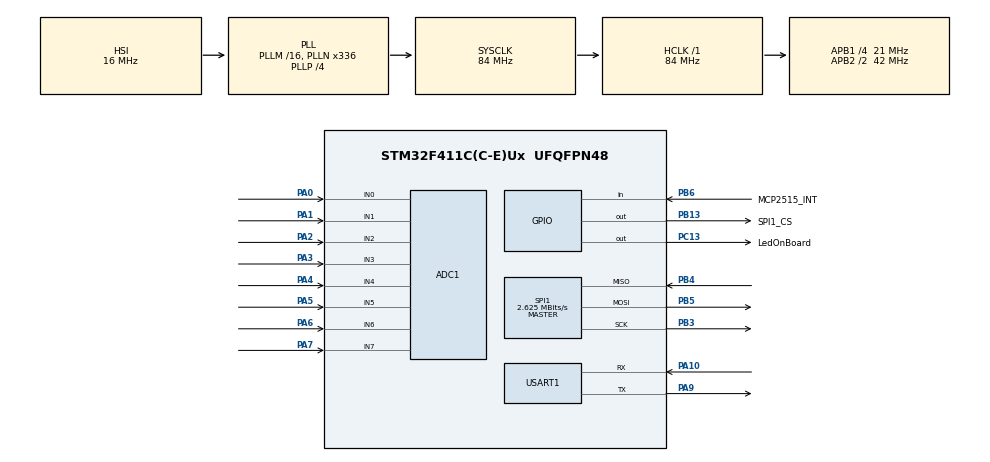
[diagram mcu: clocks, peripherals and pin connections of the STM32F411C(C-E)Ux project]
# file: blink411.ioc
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ADC1.Channel-0\#ChannelRegularConversion=ADC_CHANNEL_0
ADC1.ClockPrescaler=ADC_CLOCK_SYNC_PCLK_DIV4
ADC1.NbrOfConversion=1
ADC1.NbrOfConversionFlag=1
ADC1.Rank-0\#ChannelRegularConversion=1
ADC1.SamplingTime-0\#ChannelRegularConversion=ADC_SAMPLETIME_3CYCLES
ADC1.master=1
FREERTOS.Tasks01=TaskADC,8,512,StartTaskADC,Default,NULL,Dynamic,NULL,NULL;TaskSPI,40,512,StartTaskSPI,Default,NULL,Dynamic,NULL,NULL
FREERTOS.configUSE_NEWLIB_REENTRANT=1
Mcu.Family=STM32F4
Mcu.Name=STM32F411C(C-E)Ux
Mcu.Package=UFQFPN48
NVIC.PriorityGroup=NVIC_PRIORITYGROUP_4
NVIC.SPI1_IRQn=true\:5\:0\:false\:false\:true\:true\:true\:true\:true
NVIC.TIM1_UP_TIM10_IRQn=true\:15\:0\:false\:false\:true\:false\:false\:true\:true
NVIC.TimeBase=TIM1_UP_TIM10_IRQn
NVIC.TimeBaseIP=TIM1
PA0-WKUP.Signal=ADCx_IN0
PA1.Signal=ADCx_IN1
PA10.Mode=Asynchronous
PA10.Signal=USART1_RX
PA2.Signal=ADCx_IN2
PA3.Signal=ADCx_IN3
PA4.Signal=ADCx_IN4
PA5.Signal=ADCx_IN5
PA6.Signal=ADCx_IN6
PA7.Signal=ADCx_IN7
PA9.Mode=Asynchronous
PA9.Signal=USART1_TX
PB13.GPIO_Label=SPI1_CS
PB13.Signal=GPIO_Output
PB3.Mode=Full_Duplex_Master
PB3.Signal=SPI1_SCK
PB4.GPIO_PuPd=GPIO_PULLUP
PB4.Mode=Full_Duplex_Master
PB4.Signal=SPI1_MISO
PB5.Mode=Full_Duplex_Master
PB5.Signal=SPI1_MOSI
PB6.GPIO_Label=MCP2515_INT
PB6.GPIO_PuPd=GPIO_PULLUP
PB6.Signal=GPIO_Input
PC13-ANTI_TAMP.GPIO_Label=LedOnBoard
PC13-ANTI_TAMP.Signal=GPIO_Output
ProjectManager.HeapSize=0x200
ProjectManager.StackSize=0x400
ProjectManager.TargetToolchain=STM32CubeIDE
RCC.48MHZClocksFreq_Value=84000000
RCC.AHBFreq_Value=84000000
RCC.APB1CLKDivider=RCC_HCLK_DIV4
RCC.APB1Freq_Value=21000000
RCC.APB1TimFreq_Value=42000000
RCC.APB2CLKDivider=RCC_HCLK_DIV2
RCC.APB2Freq_Value=42000000
RCC.APB2TimFreq_Value=84000000
RCC.CortexFreq_Value=84000000
RCC.HCLKFreq_Value=84000000
RCC.HSE_VALUE=25000000
RCC.HSI_VALUE=16000000
RCC.LSE_VALUE=32768
RCC.PLLN=336
RCC.PLLP=RCC_PLLP_DIV4
RCC.SYSCLKFreq_VALUE=84000000
RCC.SYSCLKSource=RCC_SYSCLKSOURCE_PLLCLK
RCC.VCOOutputFreq_Value=336000000
SH.ADCx_IN0.0=ADC1_IN0,IN0
SH.ADCx_IN1.0=ADC1_IN1,IN1
SH.ADCx_IN2.0=ADC1_IN2,IN2
SH.ADCx_IN3.0=ADC1_IN3,IN3
SH.ADCx_IN4.0=ADC1_IN4,IN4
SH.ADCx_IN5.0=ADC1_IN5,IN5
SH.ADCx_IN6.0=ADC1_IN6,IN6
SH.ADCx_IN7.0=ADC1_IN7,IN7
SPI1.BaudRatePrescaler=SPI_BAUDRATEPRESCALER_16
SPI1.CalculateBaudRate=2.625 MBits/s
SPI1.Direction=SPI_DIRECTION_2LINES
SPI1.Mode=SPI_MODE_MASTER
SPI1.VirtualType=VM_MASTER
USART1.VirtualMode=VM_ASYNC
VP_FREERTOS_VS_CMSIS_V2.Mode=CMSIS_V2
VP_SYS_VS_tim1.Mode=TIM1
board=custom

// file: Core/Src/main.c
/* USER CODE BEGIN Header */
/**
  ******************************************************************************
  * @file           : main.c
  * @brief          : Main program body
  ******************************************************************************
  * @attention
  *
  * Copyright (c) 2024 STMicroelectronics.
  * All rights reserved.
  *
  * This software is licensed under terms that can be found in the LICENSE file
  * in the root directory of this software component.
  * If no LICENSE file comes with this software, it is provided AS-IS.
  *
  ******************************************************************************
  */
/* USER CODE END Header */
#include "main.h"
#include "cmsis_os.h"

/* USER CODE BEGIN Includes */
#include "mcp2515.h"
#include <string.h>
#include "semphr.h"
#include <math.h>
/* USER CODE END Includes */

ADC_HandleTypeDef hadc1;

SPI_HandleTypeDef hspi1;

UART_HandleTypeDef huart1;

/* Definitions for TaskADC */
osThreadId_t TaskADCHandle;
const osThreadAttr_t TaskADC_attributes = {
  .name = "TaskADC",
  .stack_size = 512 * 4,
  .priority = (osPriority_t) osPriorityNormal,
};
/* Definitions for TaskSPI */
osThreadId_t TaskSPIHandle;
const osThreadAttr_t TaskSPI_attributes = {
  .name = "TaskSPI",
  .stack_size = 512 * 4,
  .priority = (osPriority_t) osPriorityNormal,
};
/* USER CODE BEGIN PV */
MCP2515_HandleTypeDef mcp2515_1;
//canMessage canMessagesBuffer[BUFFER_TX_LENGHT];
//volatile uint8_t mcp2515Int;
//uint8_t canMsgToSend = 0;
MCP2515_canMessage canMessageTx[BUFFER_TX_SPI];
static uint8_t result_mcp2515Init = 1;
SemaphoreHandle_t xMutex;
volatile bool adcInUse = false;
volatile bool spiInUse = false;
static uint32_t msg14 = 0;

/* USER CODE END PV */

void SystemClock_Config(void);
static void MX_GPIO_Init(void);
static void MX_SPI1_Init(void);
static void MX_USART1_UART_Init(void);
static void MX_ADC1_Init(void);
void StartTaskADC(void *argument);
void StartTaskSPI(void *argument);

int main(void)
{

  /* USER CODE BEGIN 1 */
	//mcp2515Int = false;
  /* USER CODE END 1 */

  /* MCU Configuration--------------------------------------------------------*/

  /* Reset of all peripherals, Initializes the Flash interface and the Systick. */
  HAL_Init();

  /* Configure the system clock */
  SystemClock_Config();

  /* Initialize all configured peripherals */
  MX_GPIO_Init();
  MX_SPI1_Init();
  MX_USART1_UART_Init();
  MX_ADC1_Init();

  /* Init scheduler */
  osKernelInitialize();

  /* USER CODE BEGIN RTOS_SEMAPHORES */
  //xSemaphore = xSemaphoreCreateBinary();
  //xSemaphoreGive(xSemaphore);
  xMutex = xSemaphoreCreateMutex();
  /* add semaphores, ... */
  /* USER CODE END RTOS_SEMAPHORES */

  /* Create the thread(s) */
  /* creation of TaskADC */
  TaskADCHandle = osThreadNew(StartTaskADC, NULL, &TaskADC_attributes);

  /* creation of TaskSPI */
  TaskSPIHandle = osThreadNew(StartTaskSPI, NULL, &TaskSPI_attributes);

  /* Start scheduler */
  osKernelStart();

  /* We should never get here as control is now taken by the scheduler */

  /* Infinite loop */
  /* USER CODE BEGIN WHILE */
  while (1)
  {
    /* Accende il LED */
    //HAL_GPIO_WritePin(GPIOC, GPIO_PIN_13, GPIO_PIN_RESET);  // A seconda del LED potrebbe essere GPIO_PIN_SET
    //HAL_Delay(500); // Aspetta 500ms

    /* Spegne il LED */
    //HAL_GPIO_WritePin(GPIOC, GPIO_PIN_13, GPIO_PIN_SET);  // A seconda del LED potrebbe essere GPIO_PIN_RESET
    //HAL_Delay(500); // Aspetta 500ms

     /* Invia il messaggio tramite USART1 */
    //HAL_UART_Transmit(&huart1, (uint8_t*)message, strlen(message), HAL_MAX_DELAY);
    /*uint8_t data = 0xAA;
    HAL_GPIO_WritePin(GPIOB, GPIO_PIN_13, GPIO_PIN_RESET);  // CS basso
	  HAL_SPI_Transmit(&hspi1, &data, 1, HAL_MAX_DELAY);
	  HAL_GPIO_WritePin(GPIOB, GPIO_PIN_13, GPIO_PIN_SET);  // CS alto
	  HAL_Delay(2000);*/

    /* USER CODE END WHILE */

  }
}

void SystemClock_Config(void)
{
  RCC_OscInitTypeDef RCC_OscInitStruct = {0};
  RCC_ClkInitTypeDef RCC_ClkInitStruct = {0};

  /** Configure the main internal regulator output voltage
  */
  __HAL_RCC_PWR_CLK_ENABLE();
  __HAL_PWR_VOLTAGESCALING_CONFIG(PWR_REGULATOR_VOLTAGE_SCALE1);

  /** Initializes the RCC Oscillators according to the specified parameters
  * in the RCC_OscInitTypeDef structure.
  */
  RCC_OscInitStruct.OscillatorType = RCC_OSCILLATORTYPE_HSI;
  RCC_OscInitStruct.HSIState = RCC_HSI_ON;
  RCC_OscInitStruct.HSICalibrationValue = RCC_HSICALIBRATION_DEFAULT;
  RCC_OscInitStruct.PLL.PLLState = RCC_PLL_ON;
  RCC_OscInitStruct.PLL.PLLSource = RCC_PLLSOURCE_HSI;
  RCC_OscInitStruct.PLL.PLLM = 16;
  RCC_OscInitStruct.PLL.PLLN = 336;
  RCC_OscInitStruct.PLL.PLLP = RCC_PLLP_DIV4;
  RCC_OscInitStruct.PLL.PLLQ = 4;
  if (HAL_RCC_OscConfig(&RCC_OscInitStruct) != HAL_OK)
  {
    Error_Handler();
  }

  /** Initializes the CPU, AHB and APB buses clocks
  */
  RCC_ClkInitStruct.ClockType = RCC_CLOCKTYPE_HCLK|RCC_CLOCKTYPE_SYSCLK
                              |RCC_CLOCKTYPE_PCLK1|RCC_CLOCKTYPE_PCLK2;
  RCC_ClkInitStruct.SYSCLKSource = RCC_SYSCLKSOURCE_PLLCLK;
  RCC_ClkInitStruct.AHBCLKDivider = RCC_SYSCLK_DIV1;
  RCC_ClkInitStruct.APB1CLKDivider = RCC_HCLK_DIV4;
  RCC_ClkInitStruct.APB2CLKDivider = RCC_HCLK_DIV2;

  if (HAL_RCC_ClockConfig(&RCC_ClkInitStruct, FLASH_LATENCY_2) != HAL_OK)
  {
    Error_Handler();
  }
}

static void MX_ADC1_Init(void)
{

  ADC_ChannelConfTypeDef sConfig = {0};

  /** Configure the global features of the ADC (Clock, Resolution, Data Alignment and number of conversion)
  */
  hadc1.Instance = ADC1;
  hadc1.Init.ClockPrescaler = ADC_CLOCK_SYNC_PCLK_DIV4;
  hadc1.Init.Resolution = ADC_RESOLUTION_12B;
  hadc1.Init.ScanConvMode = DISABLE;
  hadc1.Init.ContinuousConvMode = DISABLE;
  hadc1.Init.DiscontinuousConvMode = DISABLE;
  hadc1.Init.ExternalTrigConvEdge = ADC_EXTERNALTRIGCONVEDGE_NONE;
  hadc1.Init.ExternalTrigConv = ADC_SOFTWARE_START;
  hadc1.Init.DataAlign = ADC_DATAALIGN_RIGHT;
  hadc1.Init.NbrOfConversion = 1;
  hadc1.Init.DMAContinuousRequests = DISABLE;
  hadc1.Init.EOCSelection = ADC_EOC_SINGLE_CONV;
  if (HAL_ADC_Init(&hadc1) != HAL_OK)
  {
    Error_Handler();
  }

  /** Configure for the selected ADC regular channel its corresponding rank in the sequencer and its sample time.
  */
  sConfig.Channel = ADC_CHANNEL_0;
  sConfig.Rank = 1;
  sConfig.SamplingTime = ADC_SAMPLETIME_3CYCLES;
  if (HAL_ADC_ConfigChannel(&hadc1, &sConfig) != HAL_OK)
  {
    Error_Handler();
  }

}

static void MX_SPI1_Init(void)
{

  /* SPI1 parameter configuration*/
  hspi1.Instance = SPI1;
  hspi1.Init.Mode = SPI_MODE_MASTER;
  hspi1.Init.Direction = SPI_DIRECTION_2LINES;
  hspi1.Init.DataSize = SPI_DATASIZE_8BIT;

  hspi1.Init.CLKPolarity = SPI_POLARITY_LOW;
  hspi1.Init.CLKPhase = SPI_PHASE_1EDGE;
  hspi1.Init.NSS = SPI_NSS_SOFT;
  hspi1.Init.BaudRatePrescaler = SPI_BAUDRATEPRESCALER_4;
  hspi1.Init.FirstBit = SPI_FIRSTBIT_MSB;
  hspi1.Init.TIMode = SPI_TIMODE_DISABLE;
  hspi1.Init.CRCCalculation = SPI_CRCCALCULATION_DISABLE;
  hspi1.Init.CRCPolynomial = 10;
  if (HAL_SPI_Init(&hspi1) != HAL_OK)
  {
    Error_Handler();
  }

}

static void MX_USART1_UART_Init(void)
{

  huart1.Instance = USART1;
  huart1.Init.BaudRate = 115200;
  huart1.Init.WordLength = UART_WORDLENGTH_8B;
  huart1.Init.StopBits = UART_STOPBITS_1;
  huart1.Init.Parity = UART_PARITY_NONE;
  huart1.Init.Mode = UART_MODE_TX_RX;
  huart1.Init.HwFlowCtl = UART_HWCONTROL_NONE;
  huart1.Init.OverSampling = UART_OVERSAMPLING_16;
  if (HAL_UART_Init(&huart1) != HAL_OK)
  {
    Error_Handler();
  }

}

/*
static void MX_DMA_Init(void)
{

  /* DMA controller clock enable */
//__HAL_RCC_DMA2_CLK_ENABLE();

  /* DMA interrupt init */
  /* DMA2_Stream0_IRQn interrupt configuration */
  //HAL_NVIC_SetPriority(DMA2_Stream0_IRQn, 5, 0);
  //HAL_NVIC_EnableIRQ(DMA2_Stream0_IRQn);
  /* DMA2_Stream2_IRQn interrupt configuration */
  //HAL_NVIC_SetPriority(DMA2_Stream2_IRQn, 5, 0);
  //HAL_NVIC_EnableIRQ(DMA2_Stream2_IRQn);

//}

static void MX_GPIO_Init(void)
{
  GPIO_InitTypeDef GPIO_InitStruct = {0};

  /* GPIO Ports Clock Enable */
  __HAL_RCC_GPIOC_CLK_ENABLE();
  __HAL_RCC_GPIOA_CLK_ENABLE();
  __HAL_RCC_GPIOB_CLK_ENABLE();

  /*Configure GPIO pin Output Level */
  HAL_GPIO_WritePin(LedOnBoard_GPIO_Port, LedOnBoard_Pin, GPIO_PIN_RESET);

  /*Configure GPIO pin Output Level */
  HAL_GPIO_WritePin(SPI1_CS_GPIO_Port, SPI1_CS_Pin, GPIO_PIN_RESET);

  /*Configure GPIO pin : LedOnBoard_Pin */
  GPIO_InitStruct.Pin = LedOnBoard_Pin;
  GPIO_InitStruct.Mode = GPIO_MODE_OUTPUT_PP;
  GPIO_InitStruct.Pull = GPIO_NOPULL;
  GPIO_InitStruct.Speed = GPIO_SPEED_FREQ_LOW;
  HAL_GPIO_Init(LedOnBoard_GPIO_Port, &GPIO_InitStruct);

  /*Configure GPIO pin : SPI1_CS_Pin */
  GPIO_InitStruct.Pin = SPI1_CS_Pin;
  GPIO_InitStruct.Mode = GPIO_MODE_OUTPUT_PP;
  GPIO_InitStruct.Pull = GPIO_NOPULL;
  GPIO_InitStruct.Speed = GPIO_SPEED_FREQ_LOW;
  HAL_GPIO_Init(SPI1_CS_GPIO_Port, &GPIO_InitStruct);

  /*Configure GPIO pin : MCP2515_INT_Pin */
  GPIO_InitStruct.Pin = MCP2515_INT_Pin;
  GPIO_InitStruct.Mode = GPIO_MODE_INPUT;
  GPIO_InitStruct.Pull = GPIO_PULLUP;
  HAL_GPIO_Init(MCP2515_INT_GPIO_Port, &GPIO_InitStruct);

}

/* USER CODE BEGIN 4 */
void HAL_SPI_TxCpltCallback(SPI_HandleTypeDef *hspi) {
    // Verifica che questo callback sia per il tuo hspi
    if (hspi == &hspi1) {
        //MCP2515_SetTransmissionComplete(&mcp2515_1, 1);
    	mcp2515_1.transmissionComplete = true;
        //BaseType_t xHigherPriorityTaskWoken = pdFALSE;
        //vTaskNotifyGiveFromISR(xTaskHandleSPI, &xHigherPriorityTaskWoken);
        //portYIELD_FROM_ISR(xHigherPriorityTaskWoken);
    }
}

void HAL_SPI_RxCpltCallback(SPI_HandleTypeDef *hspi) {
    if (hspi == &hspi1) {
    	//MCP2515_SetTransmissionComplete(&mcp2515_1, 1);
    	mcp2515_1.transmissionComplete = true;
    }
}

void HAL_SPI_TxRxCpltCallback(SPI_HandleTypeDef *hspi) {
    if (hspi == &hspi1) {
    	//MCP2515_SetTransmissionComplete(&mcp2515_1, 1);
    	mcp2515_1.transmissionComplete = true;
    }
}

/*void HAL_GPIO_EXTI_Callback(uint16_t GPIO_Pin)
{
    if (GPIO_Pin == GPIO_PIN_6)
    {
        // Codice per gestire l'interrupt del MCP2515
        mcp2515Int++;
        //printf("Interrupt\n");
       /* char message [20];
       sprintf(message, "Interrupt\r\n");
        HAL_UART_Transmit(&huart1, (uint8_t*)message, strlen(message), HAL_MAX_DELAY);*/
    //}
//}

int __io_putchar(int ch) {
    // Invia il carattere tramite USART (ad esempio huart1)
    HAL_UART_Transmit(&huart1, (uint8_t*)&ch, 1, HAL_MAX_DELAY);
    return ch;
  }

  int _write(int file, char *ptr, int len) {
      for (int i = 0; i < len; i++) {
          __io_putchar(*ptr++);
      }
      return len;
  }
void printByteArray(uint8_t *array, int size) {
    printf("Array content: ");
    for (int i = 0; i < size; i++) {
        printf("0x%02X ", array[i]);  // Stampa ciascun byte in formato esadecimale
    }
    printf("\n");  // Aggiunge una nuova linea alla fine

    /* uso
    int arraySize = sizeof(writeMessage) / sizeof(writeMessage[0]);
    printByteArray(writeMessage, arraySize);*/
}
void canMsgTx(canMessage* messageToSend, MCP2515_canMessage* messageBuffer){

	uint8_t msgId_bf[4];

	if (messageToSend->extended){
		  msgId_bf[0] = (messageToSend->msgID >> 3) & 0xFF;  // Estrai il byte alto (MSB)
		  msgId_bf[1] = (messageToSend->msgID << 5) & 0xE0;         // Estrai il byte basso (LSB)
		  msgId_bf[1] = msgId_bf[1] | 8;
		  msgId_bf[1] = msgId_bf[1] | ((messageToSend->msgID >> 28) & 0x02);
		  msgId_bf[2] = (messageToSend->msgID >> 19) & 0xFF;
		  msgId_bf[3] = (messageToSend->msgID >> 11) & 0xFF;

	  } else{

		msgId_bf[0] = (messageToSend->msgID >> 3) & 0xFF;  // Estrai il byte alto (MSB)
		msgId_bf[1] = (messageToSend->msgID << 5) & 0xE0;         // Estrai il byte basso (LSB)
		msgId_bf[2] = 0x00;
		msgId_bf[3] = 0x00;
	  }

	  memcpy(messageBuffer->msgID, msgId_bf, sizeof(msgId_bf));
	  memcpy(messageBuffer->msgData, messageToSend->msgData, messageToSend->dlc);
	  messageBuffer->dlc = messageToSend->dlc;
	  messageBuffer->newMsg = true;

	  if ((messageBuffer->msgID[0] != 2) ||
			 ( messageBuffer->msgID[1] != 0 &&
			  messageBuffer->msgID[1] != 96 &&
			  messageBuffer->msgID[1] != 64 &&
			  messageBuffer->msgID[1] != 32)){
		  msg14 += 1;
	  }

}

void Read_ADC_Polling(ADC_HandleTypeDef* hadc, ADC_ChannelConfTypeDef* sConfig, uint32_t* value) {

        HAL_ADC_ConfigChannel(hadc, sConfig);

        // Avvia la conversione
        HAL_ADC_Start(hadc);

        // Aspetta che la conversione sia completata
        if (HAL_ADC_PollForConversion(hadc, 10) == HAL_OK) {
            // Leggi il valore convertito
        	*value = HAL_ADC_GetValue(hadc);

        }

        // Ferma la conversione (opzionale, ma per sicurezza)
        HAL_ADC_Stop(hadc);

}

float scaleValue(float input, float min_input, float max_input, float min_output, float max_output) {
    // Mappatura lineare del valore di input all'intervallo di output
    float output = ((input - min_input) / (max_input - min_input)) * (max_output - min_output) + min_output;
    return output;
}

/* USER CODE END 4 */

void StartTaskADC(void *argument)
{
  /* USER CODE BEGIN 5 */
	TickType_t xLastWakeTime = xTaskGetTickCount();
	const TickType_t xFrequency = 5;//pdMS_TO_TICKS(5);;

	float min_input = 0.0;     // Minimo valore di tensione (0V)
	float max_input = 4096;     // Massimo valore di tensione (5V)
	float min_output = 0.0;    // Minimo valore di dbar (0 dbar)
	float max_output = 100.0;  // Massimo valore di dbar (100 dbar)

	uint32_t adcValues[8] = {0};
	uint32_t ui_pressureValue_dbar[8] = {0};
	ADC_ChannelConfTypeDef sConfig = {0};
	canMessage canMessage[4] = {0};
	static uint8_t indexTx = 0;
	//uint32_t start_time, timeADC;
	// Inizializza start_time
	// start_time = HAL_GetTick();

	uint16_t value_to_send = 0;

  /* Infinite loop */
  for(;;)
  {

	  //if (xSemaphoreTake(xMutex, portMAX_DELAY) == pdTRUE) {

	  //start_time = HAL_GetTick();  // Usa SysTick per ottenere il tempo attuale

	  if (result_mcp2515Init == MCP2515_OK&&
			spiInUse == false){
			 //(xSemaphoreTake(xSemaphore, portMAX_DELAY) == pdTRUE)) {
		  adcInUse = true;
		  // Esegui la lettura dei canali ADC
		  for (int i = 0; i < 8; i++) {
		          // Seleziona il canale da leggere
		          sConfig.Channel = ADC_CHANNEL_0 + i;
		          sConfig.Rank = 1;
		          sConfig.SamplingTime = ADC_SAMPLETIME_28CYCLES;
		          Read_ADC_Polling(&hadc1, &sConfig, &adcValues[i]);

		  }

		  for (int i = 0; i < 8; i++) {
			  float input = (float)adcValues[i];
			  float outputDbar = scaleValue(input, min_input, max_input, min_output, max_output);

			  if (outputDbar < 0) {
				  ui_pressureValue_dbar[i] = 0;  // Saturazione a 0 se il valore è negativo
			  } else if (outputDbar > 65535) {
				  ui_pressureValue_dbar[i] = 65535;  // Saturazione al massimo valore se eccede 65535
			  } else {
				  ui_pressureValue_dbar[i] = (uint32_t)roundf(outputDbar);  // Conversione diretta se è nei limiti
			  }

		  }

		  /********/

		  //0x010
		  canMessage[0].msgID = 0x010;
		  canMessage[0].extended = false;
		  canMessage[0].dlc = 8;

		  for (int m = 0; m < 8; m++){
			  canMessage[0].msgData[m] = 0x0;
		  }

		  //adcValues[0] = 0x00110011;
		  value_to_send = (uint16_t)adcValues[0];
		  canMessage[0].msgData[0] = value_to_send;
		  canMessage[0].msgData[1] = value_to_send >> 8;

		  //adcValues[1] = 0x22332233;
		  value_to_send = (uint16_t)adcValues[1];
		  canMessage[0].msgData[2] = value_to_send;
		  canMessage[0].msgData[3] = value_to_send >> 8;

		  //adcValues[2] = 0x44554455;
		  value_to_send = (uint16_t)adcValues[2];
		  canMessage[0].msgData[4] = value_to_send;
		  canMessage[0].msgData[5] = value_to_send >> 8;

		  //adcValues[3] = 0x66776677;
		  value_to_send = (uint16_t)adcValues[3];
		  canMessage[0].msgData[6] = value_to_send;
		  canMessage[0].msgData[7] = value_to_send >> 8;
		  /*canMessage[0].msgData[0] = 10;
		  		  canMessage[0].msgData[1] = 20;
		  		  canMessage[0].msgData[2] = 30;
		  		  canMessage[0].msgData[3] = 40;
		  		  canMessage[0].msgData[4] = 50;
		  		  canMessage[0].msgData[5] = 60;
		  		  canMessage[0].msgData[6] = 70;
		  		  canMessage[0].msgData[7] = 80;*/

		  canMsgTx(&canMessage[0], &canMessageTx[indexTx]);

		  indexTx++;
		  if (indexTx >= BUFFER_TX_SPI) {
			  indexTx = 0;
		  }

  		 /********/

		  //0x011
		  canMessage[1].msgID = 0x011;
		  canMessage[1].extended = false;
		  canMessage[1].dlc = 8;

		  for (int m = 0; m < 8; m++){
			  canMessage[1].msgData[m] = 0x0;
		  }

		  //adcValues[4] = 0x88998899;
		  value_to_send = (uint16_t)adcValues[4];
		  canMessage[1].msgData[0] = value_to_send;
		  canMessage[1].msgData[1] = value_to_send >> 8;

		  //adcValues[5] = 0xaabbaabb;
		  value_to_send = (uint16_t)adcValues[5];
		  canMessage[1].msgData[2] = value_to_send;
		  canMessage[1].msgData[3] = value_to_send >> 8;

		  //adcValues[6] = 0xccddccdd;
		  value_to_send = (uint16_t)adcValues[6];
		  canMessage[1].msgData[4] = value_to_send;
		  canMessage[1].msgData[5] = value_to_send >> 8;

		  //adcValues[7] = 0xeeffeeff;
		  value_to_send = (uint16_t)adcValues[7];
		  canMessage[1].msgData[6] = value_to_send;
		  canMessage[1].msgData[7] = value_to_send >> 8;
		  /*canMessage[1].msgData[0] = 10;
		  		  		  canMessage[1].msgData[1] = 20;
		  		  		  canMessage[1].msgData[2] = 30;
		  		  		  canMessage[1].msgData[3] = 40;
		  		  		  canMessage[1].msgData[4] = 50;
		  		  		  canMessage[1].msgData[5] = 60;
		  		  		  canMessage[1].msgData[6] = 70;
		  		  		  canMessage[1].msgData[7] = 80;*/

		  canMsgTx(&canMessage[1], &canMessageTx[indexTx]);

		  indexTx++;
		  if (indexTx >= BUFFER_TX_SPI) {
			  indexTx = 0;
		  }

		 /********/
		  //0x012
		  canMessage[2].msgID = 0x012;
		  canMessage[2].extended = false;
		  canMessage[2].dlc = 8;

		  for (int m = 0; m < 8; m++){
			  canMessage[2].msgData[m] = 0x0;
		  }

		  //ui_pressureValue_dbar[0] = 0x00110011;
		  value_to_send = (uint16_t)ui_pressureValue_dbar[0];
		  canMessage[2].msgData[0] = value_to_send;
		  canMessage[2].msgData[1] = value_to_send >> 8;

		  //ui_pressureValue_dbar[1] = 0x22332233;
		  value_to_send = (uint16_t)ui_pressureValue_dbar[1];
		  canMessage[2].msgData[2] = value_to_send;
		  canMessage[2].msgData[3] = value_to_send >> 8;

		  //ui_pressureValue_dbar[2] = 0x44554455;
		  value_to_send = (uint16_t)ui_pressureValue_dbar[2];
		  canMessage[2].msgData[4] = value_to_send;
		  canMessage[2].msgData[5] = value_to_send >> 8;

		  //ui_pressureValue_dbar[3] = 0x66776677;
		  value_to_send = (uint16_t)ui_pressureValue_dbar[3];
		  canMessage[2].msgData[6] = value_to_send;
		  canMessage[2].msgData[7] = value_to_send >> 8;

		  /*canMessage[2].msgData[0] = 10;
		  		  		  canMessage[2].msgData[1] = 20;
		  		  		  canMessage[2].msgData[2] = 30;
		  		  		  canMessage[2].msgData[3] = 40;
		  		  		  canMessage[2].msgData[4] = 50;
		  		  		  canMessage[2].msgData[5] = 60;
		  		  		  canMessage[2].msgData[6] = 70;
		  		  		  canMessage[2].msgData[7] = 80;*/
  		  canMsgTx(&canMessage[2], &canMessageTx[indexTx]);

		  indexTx++;
		  if (indexTx >= BUFFER_TX_SPI) {
			  indexTx = 0;
		  }
		  /***********/
		  //0x013
		  canMessage[3].msgID = 0x013;
		  canMessage[3].extended = false;
		  canMessage[3].dlc = 8;

		  for (int m = 0; m < 8; m++){
			  canMessage[3].msgData[m] = 0x0;
		  }

		  //ui_pressureValue_dbar[4] = 0x88998899;
		  value_to_send = (uint16_t)ui_pressureValue_dbar[4];
		  canMessage[3].msgData[0] = value_to_send;
		  canMessage[3].msgData[1] = value_to_send >> 8;

		  //ui_pressureValue_dbar[5] = 0xaabbaabb;
		  value_to_send = (uint16_t)ui_pressureValue_dbar[5];
		  canMessage[3].msgData[2] = value_to_send;
		  canMessage[3].msgData[3] = value_to_send >> 8;

		  //ui_pressureValue_dbar[6] = 0xccddccdd;
		  value_to_send = (uint16_t)ui_pressureValue_dbar[6];
		  canMessage[3].msgData[4] = value_to_send;
		  canMessage[3].msgData[5] = value_to_send >> 8;

		  //ui_pressureValue_dbar[7] = 0xeeffeeff;
		  value_to_send = (uint16_t)ui_pressureValue_dbar[7];
		  canMessage[3].msgData[6] = value_to_send;
		  canMessage[3].msgData[7] = value_to_send >> 8;
		  /*canMessage[3].msgData[0] = 10;
						  canMessage[3].msgData[1] = 20;
						  canMessage[3].msgData[2] = 30;
						  canMessage[3].msgData[3] = 40;
						  canMessage[3].msgData[4] = 50;
						  canMessage[3].msgData[5] = 60;
						  canMessage[3].msgData[6] = 70;
						  canMessage[3].msgData[7] = 80;*/
			  canMsgTx(&canMessage[3], &canMessageTx[indexTx]);

		  indexTx++;
		  if (indexTx >= BUFFER_TX_SPI) {
			  indexTx = 0;
		  }

		 /* char message [20];
		  // Converte l'intero in una stringa
		  sprintf(message, "index: %d\r\n", indexTx);
		  HAL_UART_Transmit(&huart1, (uint8_t*)message, strlen(message), HAL_MAX_DELAY);*/
		  adcInUse = false;
		  //xSemaphoreGive(xMutex);

		  // Rilascia il semaforo quando l'operazione è completata
		  //xSemaphoreGive(xSemaphore);

		 /* char message [10];
			  // Converte l'intero in una stringa
			  sprintf(message, "ADC: %d\r\n", canMessagesBuffer[index].msgData[0]);
			  HAL_UART_Transmit(&huart1, (uint8_t*)message, strlen(message), HAL_MAX_DELAY);
	*/
	  //}
	  vTaskDelayUntil(&xLastWakeTime, xFrequency);
	  }
	 // HAL_GPIO_TogglePin(LedOnBoard_GPIO_Port, LedOnBoard_Pin);

	  /*timeADC = HAL_GetTick() - start_time;
	  char message [20];
	  // Converte l'intero in una stringa
	  sprintf(message, "time adc: %d ms\r\n", timeADC);
	  HAL_UART_Transmit(&huart1, (uint8_t*)message, strlen(message), HAL_MAX_DELAY);*/
  }
  /* USER CODE END 5 */
}

void StartTaskSPI(void *argument)
{
  /* USER CODE BEGIN StartTaskSPI */

	MCP2515_MessageBuffer canMsg_buffer;

	// Inizializzazione del dispositivo MCP2515
	  //HAL_Delay(500);
	  initBuffer(&canMsg_buffer);

	  uint8_t dummyData = 0x00;
	  HAL_SPI_Transmit(&hspi1, &dummyData, 1, HAL_MAX_DELAY); // Trasmissione dummy
	  HAL_GPIO_WritePin(GPIOB, GPIO_PIN_13, GPIO_PIN_SET);  // CS alto

	  const char* resMcp2515_msg;
	  result_mcp2515Init = MCP2515_Init(&mcp2515_1, GPIOB, GPIO_PIN_13, &hspi1, CAN0_BAUDRATE, true);
	  switch ( result_mcp2515Init){

	    case MCP2515_OK:
	      resMcp2515_msg = "Inizializzazione mcp2515 ok\n";
	      break;

	    case MCP2515_FAIL:
	      resMcp2515_msg = "Inizializzazione mcp2515 fallita\n";
	      break;

	    case MCP2515_RESET_FAIL:
	      resMcp2515_msg = "Reset mcp2515 fallito\n";
	      break;

	    case MCP2515_SET_BAUDRATE_FAIL:
	      resMcp2515_msg = "Set baudrate mcp2515 fallito\n";
	      break;

	    case MCP2515_SET_MODE_FAIL:
	      resMcp2515_msg = "Set modalita operativa mcp2515 fallita\n";
	      break;

	    case MCP2515_RESET_TIMEOUT:
	      resMcp2515_msg = "MCP2515_RESET_TIMEOUT\n";
	      break;

	    case MCP2515_READ_TIMEOUT_1:
	      resMcp2515_msg = "MCP2515_READ_TIMEOUT_1\n";
	      break;

	    case MCP2515_READ_TIMEOUT_2:
	      resMcp2515_msg = "MCP2515_READ_TIMEOUT_2\n";
	      break;

	    case MCP2515_BAUDRATE_READ_FAIL:
	      resMcp2515_msg = "MCP2515_BAUDRATE_READ_FAIL\n";
	      break;

	    case MCP2515_BAUDRATE_NOT_OK:
	      resMcp2515_msg = "MCP2515_BAUDRATE_NOT_OK\n";
	      break;

	    default:
	      resMcp2515_msg = "Errore non riconosciuto mcp2515\n";
	      break;
	  }

	  HAL_UART_Transmit(&huart1, (uint8_t*)resMcp2515_msg, strlen(resMcp2515_msg), HAL_MAX_DELAY);

	  uint8_t resultHandler = 0;
	  uint8_t resultSend = 0;

	 // uint8_t result = 10;
	 /* static uint8_t index = 0;
	  static uint8_t dataToSend1[8] = {0x56, 0x26, 0x88, 0x12, 0x67, 0x99, 0xAA, 0x88};
	static uint8_t dataToSend2[8] = {0x00, 0x01, 0x02, 0x03, 0x04, 0x05, 0x06, 0x07};
	static uint8_t dataToSend3[8] = {0x10, 0x11, 0x12, 0x13, 0x14, 0x15, 0x16, 0x17};
	static uint8_t dataToSend4[8] = {0x3F, 0xA2, 0xB7, 0x19, 0xE4, 0x56, 0x8C, 0x22};
	static uint8_t dataToSend5[8] = {0x7E, 0xD4, 0x11, 0x89, 0xB5, 0x23, 0x6A, 0xFC};
	static uint8_t dataToSend6[8] = {0x4B, 0xC3, 0x9F, 0x02, 0x71, 0xD8, 0xA6, 0x5D};
	static uint8_t dataToSend7[8] = {0x99, 0x28, 0x73, 0xC4, 0xF6, 0x13, 0xB1, 0x2E};
	static uint8_t dataToSend8[8] = {0xEF, 0x5A, 0x64, 0x92, 0x3B, 0x87, 0xD3, 0x41};
	static uint8_t dataToSend9[8] = {0xAA, 0x38, 0x5C, 0x72, 0x49, 0xF1, 0xBE, 0x6D};
	static uint8_t dataToSend10[8] = {0x7E, 0xD4, 0x11, 0x89, 0xB5, 0x23, 0x6A, 0xFC};
		static uint8_t dataToSend11[8] = {0x4B, 0xC3, 0x9F, 0x02, 0x71, 0xD8, 0xA6, 0x5D};
		static uint8_t dataToSend12[8] = {0x99, 0x28, 0x73, 0xC4, 0xF6, 0x13, 0xB1, 0x2E};
		static uint8_t dataToSend13[8] = {0xEF, 0x5A, 0x64, 0x92, 0x3B, 0x87, 0xD3, 0x41};
		static uint8_t dataToSend14[8] = {0xAA, 0x38, 0x5C, 0x72, 0x49, 0xF1, 0xBE, 0x6D};
	uint32_t msgId1 = 0x200;
	uint32_t msgId2 = 0x210;
	uint32_t msgId3 = 0x220;
	uint32_t msgId4 = 0x230;
	uint32_t msgId5 = 0x240;
	uint32_t msgId6 = 0x250;
	uint32_t msgId7 = 0x260;
	uint32_t msgId8 = 0x270;
	uint32_t msgId9 = 0x280;
	uint32_t msgId10 = 0x281;
		uint32_t msgId11 = 0x282;
		uint32_t msgId12 = 0x283;
		uint32_t msgId13 = 0x284;
		uint32_t msgId14 = 0x285;*/

	  	//uint32_t start_time, timeADC;
	  	uint32_t start_time2, time2;
	  			// Inizializza start_time
	  			 //start_time = HAL_GetTick();
	  			start_time2 = HAL_GetTick();
	  			char message [50];

	GPIO_PinState  mcp2515IntState;
	//static BaseType_t taskADCIsSuspended = pdFALSE;
  /* Infinite loop */
  for(;;)
  {

	  //if (xSemaphoreTake(xMutex, 0) == pdTRUE) {
	  //ulTaskNotifyTake(pdTRUE, portMAX_DELAY);
	  if (result_mcp2515Init == MCP2515_OK){
		// timeADC = HAL_GetTick() - start_time;
		/* time2 = HAL_GetTick() - start_time2;

		 if (time2>=12000 && canMsg_buffer.status == TRANSMISSION_IDLE){
			 start_time2  = HAL_GetTick();

			 uint8_t readCTRL;

			 sprintf(message, "--Reg: %d-%d-%d\r\n", mcp2515_1.emptyTXBuffer[0], mcp2515_1.emptyTXBuffer[1], mcp2515_1.emptyTXBuffer[2]);
			 HAL_UART_Transmit(&huart1, (uint8_t*)message, strlen(message), HAL_MAX_DELAY);
			 sprintf(message, "--buffer sts: %d\r\n", canMsg_buffer.status );
			 HAL_UART_Transmit(&huart1, (uint8_t*)message, strlen(message), HAL_MAX_DELAY);
			 MCP2515_ReadRegister(&mcp2515_1,0x30, &readCTRL);
			 sprintf(message, "--ctrl1: 0x%02X\r\n", readCTRL );
			 			 HAL_UART_Transmit(&huart1, (uint8_t*)message, strlen(message), HAL_MAX_DELAY);
			 MCP2515_ReadRegister(&mcp2515_1,0x40, &readCTRL);
			 sprintf(message, "--ctrl2: 0x%02X\r\n", readCTRL);
			 			 HAL_UART_Transmit(&huart1, (uint8_t*)message, strlen(message), HAL_MAX_DELAY);
			 MCP2515_ReadRegister(&mcp2515_1,0x50, &readCTRL);
			 sprintf(message, "--crtl3: 0x%02X\r\n", readCTRL);
			 			 HAL_UART_Transmit(&huart1, (uint8_t*)message, strlen(message), HAL_MAX_DELAY);
			 sprintf(message, "--state: 0x%02X\r\n", mcp2515_1.hspi->State);
			  HAL_UART_Transmit(&huart1, (uint8_t*)message, strlen(message), HAL_MAX_DELAY);
			  MCP2515_ReadRegister(&mcp2515_1,MCP2515_CANINTF_MSG, &readCTRL);
			  sprintf(message, "--flag: 0x%02X\r\n", readCTRL );
			  			 			 HAL_UART_Transmit(&huart1, (uint8_t*)message, strlen(message), HAL_MAX_DELAY);
			MCP2515_ReadRegister(&mcp2515_1,MCP2515_CANINTE_MSG, &readCTRL);
			  sprintf(message, "--flag: 0x%02X\r\n", readCTRL );
			 HAL_UART_Transmit(&huart1, (uint8_t*)message, strlen(message), HAL_MAX_DELAY);
			 MCP2515_ReadRegister(&mcp2515_1,0x2D, &readCTRL);
			  sprintf(message, "--eflg: 0x%02X\r\n", readCTRL );
			 HAL_UART_Transmit(&huart1, (uint8_t*)message, strlen(message), HAL_MAX_DELAY);
			 MCP2515_ReadRegister(&mcp2515_1,0x1C, &readCTRL);
			  sprintf(message, "--TEC: 0x%02X\r\n", readCTRL );
			 HAL_UART_Transmit(&huart1, (uint8_t*)message, strlen(message), HAL_MAX_DELAY);
			 MCP2515_ReadRegister(&mcp2515_1,0x1D, &readCTRL);
			  sprintf(message, "--REC: 0x%02X\r\n", readCTRL );
			 HAL_UART_Transmit(&huart1, (uint8_t*)message, strlen(message), HAL_MAX_DELAY);
			 sprintf(message, "-------------------\r\n");
			 			 HAL_UART_Transmit(&huart1, (uint8_t*)message, strlen(message), HAL_MAX_DELAY);

		 }*/
/*
		  if (timeADC >=5){

			  start_time = HAL_GetTick();
			  /*sprintf(message, "Flag: %d\r\n", mcp2515Int);
			  HAL_UART_Transmit(&huart1, (uint8_t*)message, strlen(message), HAL_MAX_DELAY);

			  //sprintf(message, "Reg: %d-%d-%d,   buffer sts: %d\r\n", mcp2515_1.emptyTXBuffer[0], mcp2515_1.emptyTXBuffer[1], mcp2515_1.emptyTXBuffer[2],canMsg_buffer.status );
			  //HAL_UART_Transmit(&huart1, (uint8_t*)message, strlen(message), HAL_MAX_DELAY);

			  dataToSend1[0] ++;
			  canMsgTx(dataToSend1, &msgId1, false, 8);
			  canMsgTx(dataToSend2, &msgId2, false, 8);
			  canMsgTx(dataToSend3, &msgId3, false, 8);
			  canMsgTx(dataToSend4, &msgId4, false, 8);
			  canMsgTx(dataToSend5, &msgId5, false, 8);
			  canMsgTx(dataToSend6, &msgId6, false, 8);
			  canMsgTx(dataToSend7, &msgId7, false, 8);
			  canMsgTx(dataToSend8, &msgId8, false, 8);
			  canMsgTx(dataToSend9, &msgId9, false, 8);
			 /* canMsgTx(dataToSend10, &msgId10, false, 8);
			  			  canMsgTx(dataToSend11, &msgId11, false, 8);
			  			  canMsgTx(dataToSend12, &msgId12, false, 8);
			  			  canMsgTx(dataToSend13, &msgId13, false, 8);
			  			  canMsgTx(dataToSend14, &msgId14, false, 8);

		}*/

		  if (!spiInUse && !adcInUse){
			  mcp2515IntState = HAL_GPIO_ReadPin(GPIOB, GPIO_PIN_6);

			  resultHandler = MCP2515_InterruptHandler(&mcp2515_1, mcp2515IntState, &canMsg_buffer);
		  }

		  	 /* if (resultHandler != 0){

			  	// Converte l'intero in una stringa
			  sprintf(message, "Result: %d\r\n", resultHandler);
			  HAL_UART_Transmit(&huart1, (uint8_t*)message, strlen(message), HAL_MAX_DELAY);
			  // Converte l'intero in una stringa
			  	//	  	sprintf(message, "Flag: %d\r\n", mcp2515Int);
			  	//	  	HAL_UART_Transmit(&huart1, (uint8_t*)message, strlen(message), HAL_MAX_DELAY);
		  	  }*/
		  	 /* if (mcp2515Int==true){
		  		sprintf(message, "Flag ON\r\n");
		  		HAL_UART_Transmit(&huart1, (uint8_t*)message, strlen(message), HAL_MAX_DELAY);
		  	  }*/

			  //if (xSemaphoreTake(xSemaphore, portMAX_DELAY) == pdTRUE){
				 // do{
		  	 if (!adcInUse){
						resultSend = MCP2515_SendMessage(&mcp2515_1, &canMsg_buffer, canMessageTx);
						if (canMsg_buffer.status != TRANSMISSION_IDLE) {
							spiInUse = true;
						}
						else
							spiInUse = false;

						/*if (resultSend != 0){

						 // Converte l'intero in una stringa
						  sprintf(message, "ResultSend: %d\r\n", resultSend);
						  HAL_UART_Transmit(&huart1, (uint8_t*)message, strlen(message), HAL_MAX_DELAY);
						}*/
		  	 }
				 // }while(canMsg_buffer.status != TRANSMISSION_IDLE);
				/*if (canMsg_buffer.status != TRANSMISSION_IDLE && taskADCIsSuspended == pdFALSE) {
					vTaskSuspend(TaskADCHandle);
					taskADCIsSuspended = pdTRUE;
				} else if (canMsg_buffer.status == TRANSMISSION_IDLE && taskADCIsSuspended == pdTRUE) {
					vTaskResume(TaskADCHandle);
					taskADCIsSuspended = pdFALSE;
				}*/
				/*
				 // Converte l'intero in una stringa
				  sprintf(message, "Status: %d\r\n", canMsg_buffer.status);
				  HAL_UART_Transmit(&huart1, (uint8_t*)message, strlen(message), HAL_MAX_DELAY);

								// Converte l'intero in una stringa
							  sprintf(message2, "Complete: %d\r\n", mcp2515_1.transmissionComplete);
							  HAL_UART_Transmit(&huart1, (uint8_t*)message2, strlen(message2), HAL_MAX_DELAY);*/
					//  xSemaphoreGive(xSemaphore);

			 // }

	     /*if (canMsg_buffer.status == TRANSMISSION_END){
	    	char message [20];
	    	// Converte l'intero in una stringa
	    	sprintf(message, "Msg: %d\r\n", canMsg_buffer.buffer);
	    	HAL_UART_Transmit(&huart1, (uint8_t*)message, strlen(message), HAL_MAX_DELAY);
	     }*/

	  }
	  //char *message = "SPI\n";
	  //	  HAL_UART_Transmit(&huart1, (uint8_t*)message, strlen(message), HAL_MAX_DELAY);
  }
  /* USER CODE END StartTaskSPI */
}

void HAL_TIM_PeriodElapsedCallback(TIM_HandleTypeDef *htim)
{
  if (htim->Instance == TIM1) {
    HAL_IncTick();
  }
}

void Error_Handler(void)
{
  __disable_irq();
  while (1)
  {
  }
}
